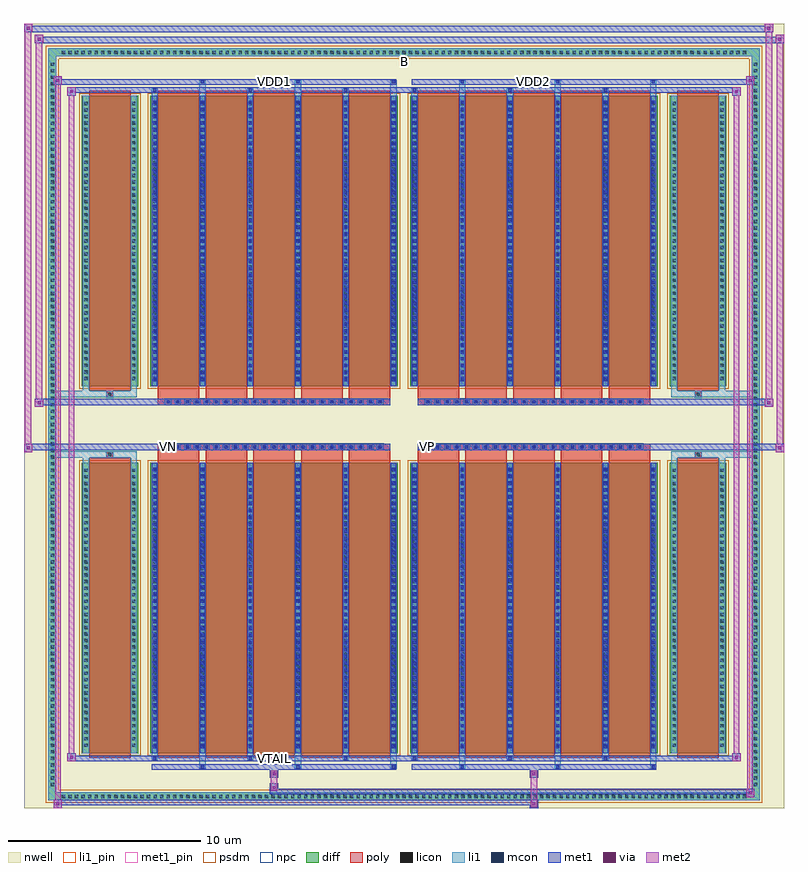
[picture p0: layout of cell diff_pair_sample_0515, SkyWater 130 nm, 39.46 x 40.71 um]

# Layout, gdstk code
import gdstk
lib = gdstk.Library(unit=1e-6, precision=5e-09)
def R(c, l, rs):  # rectangles x0, y0, x1, y1
    for r in rs: c.add(gdstk.rectangle(r[:2], r[2:], *l))
def A(c, l, x, y, w, h, nx, ny, dx, dy):  # array of equal rectangles
    R(c, l, [(x+i*dx, y+j*dy, x+i*dx+w, y+j*dy+h) for i in range(nx) for j in range(ny)])
def P(c, l, *ps):  # polygons
    for p in ps: c.add(gdstk.Polygon(p, *l))
nwell = (64, 20)
diff = (65, 20)
poly = (66, 20)
licon = (66, 44)
li1_pin = (67, 16)
li1 = (67, 20)
mcon = (67, 44)
met1_pin = (68, 16)
met1 = (68, 20)
via = (68, 44)
met2 = (69, 20)
psdm = (94, 20)
npc = (95, 20)

diff_pair_sample_0515 = lib.new_cell('diff_pair_sample_0515')
R(diff_pair_sample_0515, nwell, [(-19.73,-19.92,19.73,20.79), (-17.05,-18.11,-0.01,-0.805), (0.01,-18.11,17.05,-0.805), (-17.05,0.805,-0.01,18.11), (0.01,0.805,17.05,18.11)])
A(diff_pair_sample_0515, diff, -17.885, -19.52, 0.41, 0.41, 105, 2, 0.34, 38.63)
A(diff_pair_sample_0515, diff, -18.46, -18.905, 0.41, 0.41, 1, 111, 0, 0.34)
A(diff_pair_sample_0515, diff, 18.05, -18.905, 0.41, 0.41, 1, 111, 0, 0.34)
R(diff_pair_sample_0515, diff, [(-17.885,-19.52,17.885,-19.11), (-18.46,-18.905,-18.05,18.905), (18.05,-18.905,18.46,18.905), (-16.74,-17.065,-13.81,-1.985), (-13.17,-17.065,-0.32,-1.985), (0.32,-17.065,13.17,-1.985), (13.81,-17.065,16.74,-1.985), (-16.74,1.985,-13.81,17.065), (-13.17,1.985,-0.32,17.065), (0.32,1.985,13.17,17.065), (13.81,1.985,16.74,17.065), (-17.885,19.11,17.885,19.52)])
P(diff_pair_sample_0515, diff, [(18.46,19.52),(-18.46,19.52),(-18.46,-19.11),(-18.05,-19.11),(-18.05,19.11),(18.05,19.11),(18.05,-19.11),(-18.05,-19.11),(-18.46,-19.11),(-18.46,-19.52),(18.46,-19.52)])
A(diff_pair_sample_0515, poly, -12.78, -17.315, 2.15, 15.58, 5, 2, 2.48, 19.05)
A(diff_pair_sample_0515, poly, 0.71, -17.315, 2.15, 15.58, 5, 2, 2.48, 19.05)
A(diff_pair_sample_0515, poly, -12.78, -1.735, 2.15, 0.4, 5, 2, 2.48, 3.07)
A(diff_pair_sample_0515, poly, 0.71, -1.735, 2.15, 0.4, 5, 2, 2.48, 3.07)
A(diff_pair_sample_0515, poly, -12.41, -1.335, 0.33, 0.33, 23, 2, 0.5, 2.34)
A(diff_pair_sample_0515, poly, 1.08, -1.335, 0.33, 0.33, 23, 2, 0.5, 2.34)
R(diff_pair_sample_0515, poly, [(-16.35,-17.315,-14.2,-1.735), (14.2,-17.315,16.35,-1.735), (-15.44,-1.735,-15.11,-1.405), (-15.44,-1.735,-15.11,-1.405), (15.11,-1.735,15.44,-1.405), (15.11,-1.735,15.44,-1.405), (-12.78,-1.335,-0.71,-1.005), (0.71,-1.335,12.78,-1.005), (-12.78,1.005,-0.71,1.335), (0.71,1.005,12.78,1.335), (-15.44,1.405,-15.11,1.735), (-15.44,1.405,-15.11,1.735), (15.11,1.405,15.44,1.735), (15.11,1.405,15.44,1.735), (-16.35,1.735,-14.2,17.315), (14.2,1.735,16.35,17.315)])
A(diff_pair_sample_0515, licon, -17.765, -19.4, 0.17, 0.17, 105, 2, 0.34, 38.63)
A(diff_pair_sample_0515, licon, -18.34, -18.785, 0.17, 0.17, 1, 111, 0, 0.34)
A(diff_pair_sample_0515, licon, 18.17, -18.785, 0.17, 0.17, 1, 111, 0, 0.34)
A(diff_pair_sample_0515, licon, -16.6, -16.75, 0.17, 0.17, 1, 43, 0, 0.34)
A(diff_pair_sample_0515, licon, -14.12, -16.75, 0.17, 0.17, 1, 43, 0, 0.34)
A(diff_pair_sample_0515, licon, -13.03, -16.75, 0.17, 0.17, 6, 43, 2.48, 0.34)
A(diff_pair_sample_0515, licon, 0.46, -16.75, 0.17, 0.17, 6, 43, 2.48, 0.34)
A(diff_pair_sample_0515, licon, 13.95, -16.75, 0.17, 0.17, 1, 43, 0, 0.34)
A(diff_pair_sample_0515, licon, 16.43, -16.75, 0.17, 0.17, 1, 43, 0, 0.34)
A(diff_pair_sample_0515, licon, -12.33, -1.255, 0.17, 0.17, 23, 2, 0.5, 2.34)
A(diff_pair_sample_0515, licon, 1.16, -1.255, 0.17, 0.17, 23, 2, 0.5, 2.34)
A(diff_pair_sample_0515, licon, -16.6, 2.3, 0.17, 0.17, 1, 43, 0, 0.34)
A(diff_pair_sample_0515, licon, -14.12, 2.3, 0.17, 0.17, 1, 43, 0, 0.34)
A(diff_pair_sample_0515, licon, -13.03, 2.3, 0.17, 0.17, 6, 43, 2.48, 0.34)
A(diff_pair_sample_0515, licon, 0.46, 2.3, 0.17, 0.17, 6, 43, 2.48, 0.34)
A(diff_pair_sample_0515, licon, 13.95, 2.3, 0.17, 0.17, 1, 43, 0, 0.34)
A(diff_pair_sample_0515, licon, 16.43, 2.3, 0.17, 0.17, 1, 43, 0, 0.34)
R(diff_pair_sample_0515, licon, [(-15.36,-1.655,-15.19,-1.485), (15.19,-1.655,15.36,-1.485), (-15.36,1.485,-15.19,1.655), (15.19,1.485,15.36,1.655)])
R(diff_pair_sample_0515, li1_pin, [(-0.25,18.61,0.25,19.11)])
A(diff_pair_sample_0515, li1, -17.845, -19.48, 0.33, 0.33, 105, 2, 0.34, 38.63)
A(diff_pair_sample_0515, li1, -18.42, -18.865, 0.33, 0.33, 1, 111, 0, 0.34)
A(diff_pair_sample_0515, li1, 18.09, -18.865, 0.33, 0.33, 1, 111, 0, 0.34)
A(diff_pair_sample_0515, li1, -10.63, -17.87, 0.33, 0.805, 3, 2, 4.96, 34.935)
A(diff_pair_sample_0515, li1, -10.55, -17.87, 0.17, 0.17, 3, 2, 4.96, 35.57)
A(diff_pair_sample_0515, li1, 2.86, -17.87, 0.33, 0.805, 3, 2, 4.96, 34.935)
A(diff_pair_sample_0515, li1, 2.94, -17.87, 0.17, 0.17, 3, 2, 4.96, 35.57)
A(diff_pair_sample_0515, li1, -13.11, -17.44, 0.33, 0.375, 3, 2, 4.96, 34.505)
A(diff_pair_sample_0515, li1, -13.03, -17.44, 0.17, 0.17, 3, 2, 4.96, 34.71)
A(diff_pair_sample_0515, li1, 0.38, -17.44, 0.33, 0.375, 3, 2, 4.96, 34.505)
A(diff_pair_sample_0515, li1, 0.46, -17.44, 0.17, 0.17, 3, 2, 4.96, 34.71)
A(diff_pair_sample_0515, li1, -13.11, -17.065, 0.33, 15.08, 6, 2, 2.48, 19.05)
A(diff_pair_sample_0515, li1, 0.38, -17.065, 0.33, 15.08, 6, 2, 2.48, 19.05)
A(diff_pair_sample_0515, li1, -16.68, -16.83, 0.33, 0.33, 1, 43, 0, 0.34)
A(diff_pair_sample_0515, li1, -14.2, -16.83, 0.33, 0.33, 1, 43, 0, 0.34)
A(diff_pair_sample_0515, li1, -13.11, -16.83, 0.33, 0.33, 6, 43, 2.48, 0.34)
A(diff_pair_sample_0515, li1, 0.38, -16.83, 0.33, 0.33, 6, 43, 2.48, 0.34)
A(diff_pair_sample_0515, li1, 13.87, -16.83, 0.33, 0.33, 1, 43, 0, 0.34)
A(diff_pair_sample_0515, li1, 16.35, -16.83, 0.33, 0.33, 1, 43, 0, 0.34)
A(diff_pair_sample_0515, li1, -13.03, -16.81, 0.17, 0.17, 6, 41, 2.48, 0.36)
A(diff_pair_sample_0515, li1, -13.03, -16.81, 0.17, 14.57, 6, 2, 2.48, 19.05)
A(diff_pair_sample_0515, li1, 0.46, -16.81, 0.17, 0.17, 6, 41, 2.48, 0.36)
A(diff_pair_sample_0515, li1, 0.46, -16.81, 0.17, 14.57, 6, 2, 2.48, 19.05)
A(diff_pair_sample_0515, li1, -12.41, -1.335, 0.33, 0.33, 23, 2, 0.5, 2.34)
A(diff_pair_sample_0515, li1, 1.08, -1.335, 0.33, 0.33, 23, 2, 0.5, 2.34)
A(diff_pair_sample_0515, li1, -16.68, 2.22, 0.33, 0.33, 1, 43, 0, 0.34)
A(diff_pair_sample_0515, li1, -14.2, 2.22, 0.33, 0.33, 1, 43, 0, 0.34)
A(diff_pair_sample_0515, li1, -13.11, 2.22, 0.33, 0.33, 6, 43, 2.48, 0.34)
A(diff_pair_sample_0515, li1, 0.38, 2.22, 0.33, 0.33, 6, 43, 2.48, 0.34)
A(diff_pair_sample_0515, li1, 13.87, 2.22, 0.33, 0.33, 1, 43, 0, 0.34)
A(diff_pair_sample_0515, li1, 16.35, 2.22, 0.33, 0.33, 1, 43, 0, 0.34)
A(diff_pair_sample_0515, li1, -13.03, 2.24, 0.17, 0.17, 6, 41, 2.48, 0.36)
A(diff_pair_sample_0515, li1, 0.46, 2.24, 0.17, 0.17, 6, 41, 2.48, 0.36)
R(diff_pair_sample_0515, li1, [(-18.46,-19.52,-18.05,-19.11), (-18.46,-19.52,-18.05,-19.11), (-18.05,-19.52,18.05,-19.11), (18.05,-19.52,18.46,-19.11), (18.05,-19.52,18.46,-19.11), (-18.46,-19.11,-18.05,19.11), (18.05,-19.11,18.46,19.11), (-16.68,-17.065,-16.35,-1.985), (-14.2,-17.065,-13.87,-1.985), (13.87,-17.065,14.2,-1.985), (16.35,-17.065,16.68,-1.985), (-16.68,-1.985,-16.35,-1.405), (-14.2,-1.985,-13.87,-1.405), (13.87,-1.985,14.2,-1.405), (16.35,-1.985,16.68,-1.405), (-18.46,-1.735,-15.44,-1.405), (-16.68,-1.735,-15.44,-1.405), (-15.44,-1.735,-15.11,-1.405), (-15.11,-1.735,-13.87,-1.405), (13.87,-1.735,15.11,-1.405), (15.11,-1.735,15.44,-1.405), (15.11,-1.735,18.46,-1.405), (15.44,-1.735,16.68,-1.405), (-18.46,1.405,-15.44,1.735), (-16.68,1.405,-15.44,1.735), (-16.68,1.405,-16.35,1.985), (-15.44,1.405,-15.11,1.735), (-15.11,1.405,-13.87,1.735), (-14.2,1.405,-13.87,1.985), (13.87,1.405,15.11,1.735), (13.87,1.405,14.2,1.985), (15.11,1.405,15.44,1.735), (15.11,1.405,18.46,1.735), (15.44,1.405,16.68,1.735), (16.35,1.405,16.68,1.985), (-16.68,1.985,-16.35,17.065), (-14.2,1.985,-13.87,17.065), (13.87,1.985,14.2,17.065), (16.35,1.985,16.68,17.065), (-18.46,19.11,-18.05,19.52), (-18.46,19.11,-18.05,19.52), (-18.05,19.11,18.05,19.52), (18.05,19.11,18.46,19.52), (18.05,19.11,18.46,19.52)])
A(diff_pair_sample_0515, mcon, -10.55, -17.87, 0.17, 0.17, 3, 2, 4.96, 35.57)
A(diff_pair_sample_0515, mcon, 2.94, -17.87, 0.17, 0.17, 3, 2, 4.96, 35.57)
A(diff_pair_sample_0515, mcon, -13.03, -17.44, 0.17, 0.17, 3, 2, 4.96, 34.71)
A(diff_pair_sample_0515, mcon, 0.46, -17.44, 0.17, 0.17, 3, 2, 4.96, 34.71)
A(diff_pair_sample_0515, mcon, -13.03, -16.81, 0.17, 0.17, 6, 41, 2.48, 0.36)
A(diff_pair_sample_0515, mcon, 0.46, -16.81, 0.17, 0.17, 6, 41, 2.48, 0.36)
A(diff_pair_sample_0515, mcon, -12.33, -1.255, 0.17, 0.17, 23, 2, 0.5, 2.34)
A(diff_pair_sample_0515, mcon, 1.16, -1.255, 0.17, 0.17, 23, 2, 0.5, 2.34)
A(diff_pair_sample_0515, mcon, -13.03, 2.24, 0.17, 0.17, 6, 41, 2.48, 0.36)
A(diff_pair_sample_0515, mcon, 0.46, 2.24, 0.17, 0.17, 6, 41, 2.48, 0.36)
R(diff_pair_sample_0515, met1_pin, [(-6.88,-17.48,-6.61,-17.21), (-12.38,-1.295,-12.11,-1.025), (1.11,-1.295,1.38,-1.025), (-6.88,17.66,-6.61,17.93), (6.61,17.66,6.88,17.93)])
A(diff_pair_sample_0515, met1, -10.61, -17.93, 0.29, 0.29, 3, 2, 4.96, 35.57)
A(diff_pair_sample_0515, met1, 2.88, -17.93, 0.29, 0.29, 3, 2, 4.96, 35.57)
A(diff_pair_sample_0515, met1, -13.09, -17.5, 0.29, 0.29, 3, 2, 4.96, 34.71)
A(diff_pair_sample_0515, met1, 0.4, -17.5, 0.29, 0.29, 3, 2, 4.96, 34.71)
A(diff_pair_sample_0515, met1, -13.09, -17.065, 0.29, 15.08, 6, 2, 2.48, 19.05)
A(diff_pair_sample_0515, met1, 0.4, -17.065, 0.29, 15.08, 6, 2, 2.48, 19.05)
A(diff_pair_sample_0515, met1, -13.09, -16.87, 0.29, 0.29, 6, 41, 2.48, 0.36)
A(diff_pair_sample_0515, met1, 0.4, -16.87, 0.29, 0.29, 6, 41, 2.48, 0.36)
A(diff_pair_sample_0515, met1, -12.39, -1.315, 0.29, 0.29, 23, 2, 0.5, 2.34)
A(diff_pair_sample_0515, met1, 1.1, -1.315, 0.29, 0.29, 23, 2, 0.5, 2.34)
A(diff_pair_sample_0515, met1, -13.09, 2.18, 0.29, 0.29, 6, 41, 2.48, 0.36)
A(diff_pair_sample_0515, met1, 0.4, 2.18, 0.29, 0.29, 6, 41, 2.48, 0.36)
R(diff_pair_sample_0515, met1, [(-18.19,-19.92,-17.76,-19.49), (6.53,-19.92,6.96,-19.49), (-18.19,-19.78,6.96,-19.49), (17.76,-19.35,18.19,-18.92), (-6.96,-19.21,18.19,-18.92), (-6.96,-19.07,-6.53,-18.64), (-6.96,-18.36,-6.53,-17.93), (6.53,-18.36,6.96,-17.93), (-13.09,-17.93,-0.4,-17.64), (0.4,-17.93,13.09,-17.64), (-17.48,-17.5,-17.05,-17.07), (-17.48,-17.5,-13.09,-17.21), (-13.09,-17.5,-0.4,-17.21), (-0.4,-17.5,0.4,-17.21), (0.4,-17.5,13.09,-17.21), (13.09,-17.5,17.48,-17.21), (17.05,-17.5,17.48,-17.07), (-19.73,-1.435,-19.3,-1.005), (19.3,-1.435,19.73,-1.005), (-19.73,-1.335,-0.71,-1.005), (-12.78,-1.335,-0.71,-1.005), (0.71,-1.335,12.78,-1.005), (0.71,-1.335,19.73,-1.005), (-19.16,0.905,-18.73,1.335), (18.73,0.905,19.16,1.335), (-19.16,1.005,-12.78,1.335), (-12.78,1.005,-0.71,1.335), (0.71,1.005,12.78,1.335), (12.78,1.005,19.16,1.335), (-17.48,17.07,-17.05,17.5), (17.05,17.07,17.48,17.5), (-17.48,17.21,-13.09,17.5), (-13.09,17.21,-0.4,17.5), (-0.4,17.21,0.4,17.5), (0.4,17.21,13.09,17.5), (13.09,17.21,17.48,17.5), (-18.19,17.64,-17.76,18.07), (-18.19,17.64,-13.09,17.93), (-13.09,17.64,-0.4,17.93), (0.4,17.64,13.09,17.93), (13.09,17.64,18.19,17.93), (17.76,17.64,18.19,18.07), (-19.16,19.79,-18.73,20.22), (-19.16,19.79,-17.05,20.12), (-17.05,19.79,17.05,20.12), (17.05,19.79,19.73,20.12), (19.3,19.79,19.73,20.22), (-19.73,20.36,-19.3,20.79), (-19.73,20.36,-17.05,20.69), (-17.05,20.36,17.05,20.69), (17.05,20.36,19.16,20.69), (18.73,20.36,19.16,20.79)])
R(diff_pair_sample_0515, via, [(-18.05,-19.78,-17.9,-19.63), (6.67,-19.78,6.82,-19.63), (17.9,-19.21,18.05,-19.06), (-6.82,-18.93,-6.67,-18.78), (-6.82,-18.22,-6.67,-18.07), (6.67,-18.22,6.82,-18.07), (-17.34,-17.36,-17.19,-17.21), (17.19,-17.36,17.34,-17.21), (-19.59,-1.295,-19.44,-1.145), (19.44,-1.295,19.59,-1.145), (-19.02,1.045,-18.87,1.195), (18.87,1.045,19.02,1.195), (-17.34,17.21,-17.19,17.36), (17.19,17.21,17.34,17.36), (-18.05,17.78,-17.9,17.93), (17.9,17.78,18.05,17.93), (-19.02,19.93,-18.87,20.08), (19.44,19.93,19.59,20.08), (-19.59,20.5,-19.44,20.65), (18.87,20.5,19.02,20.65)])
R(diff_pair_sample_0515, met2, [(-18.19,-19.92,-17.76,-19.49), (-18.12,-19.92,-17.83,18.07), (-17.83,-19.92,-17.76,-19.49), (-18.14,-19.87,-17.81,-19.54), (6.58,-19.87,6.91,-19.54), (6.58,-19.54,6.91,-18.31), (17.76,-19.35,18.19,-18.92), (17.83,-19.35,18.12,18.07), (18.12,-19.35,18.19,-18.92), (17.81,-19.3,18.14,-18.97), (-6.91,-19.02,-6.58,-18.69), (-6.91,-18.69,-6.58,-18.31), (-6.91,-18.31,-6.58,-17.98), (6.58,-18.31,6.91,-17.98), (-17.48,-17.5,-17.05,-17.07), (-17.41,-17.5,-17.12,17.5), (-17.12,-17.5,-17.05,-17.07), (17.05,-17.5,17.48,-17.07), (17.12,-17.5,17.41,17.5), (17.41,-17.5,17.48,-17.07), (-17.43,-17.45,-17.1,-17.12), (17.1,-17.45,17.43,-17.12), (-19.73,-1.435,-19.3,-1.005), (-19.68,-1.435,-19.35,20.79), (-19.35,-1.435,-19.3,-1.005), (19.3,-1.435,19.73,-1.005), (19.35,-1.435,19.68,20.22), (19.68,-1.435,19.73,-1.005), (-19.68,-1.385,-19.35,-1.055), (19.35,-1.385,19.68,-1.055), (-19.16,0.905,-18.73,1.335), (-19.11,0.905,-18.78,20.22), (-18.78,0.905,-18.73,1.335), (18.73,0.905,19.16,1.335), (18.78,0.905,19.11,20.79), (19.11,0.905,19.16,1.335), (-19.11,0.955,-18.78,1.285), (18.78,0.955,19.11,1.285), (-17.48,17.07,-17.05,17.5), (-17.12,17.07,-17.05,17.5), (17.05,17.07,17.48,17.5), (17.41,17.07,17.48,17.5), (-17.43,17.12,-17.1,17.45), (17.1,17.12,17.43,17.45), (-18.19,17.64,-17.76,18.07), (-17.83,17.64,-17.76,18.07), (17.76,17.64,18.19,18.07), (18.12,17.64,18.19,18.07), (-18.14,17.69,-17.81,18.02), (17.81,17.69,18.14,18.02), (-19.16,19.79,-18.73,20.22), (-18.78,19.79,-18.73,20.22), (19.3,19.79,19.73,20.22), (19.68,19.79,19.73,20.22), (-19.11,19.84,-18.78,20.17), (19.35,19.84,19.68,20.17), (-19.73,20.36,-19.3,20.79), (-19.35,20.36,-19.3,20.79), (18.73,20.36,19.16,20.79), (19.11,20.36,19.16,20.79), (-19.68,20.41,-19.35,20.74), (18.78,20.41,19.11,20.74)])
R(diff_pair_sample_0515, psdm, [(-16.87,-17.195,-13.68,-1.855), (-13.3,-17.195,-0.19,-1.855), (0.19,-17.195,13.3,-1.855), (13.68,-17.195,16.87,-1.855), (-16.87,1.855,-13.68,17.195), (-13.3,1.855,-0.19,17.195), (0.19,1.855,13.3,17.195), (13.68,1.855,16.87,17.195)])
P(diff_pair_sample_0515, psdm, [(18.59,19.65),(-18.59,19.65),(-18.59,-18.98),(-17.92,-18.98),(-17.92,18.98),(17.92,18.98),(17.92,-18.98),(-17.92,-18.98),(-18.59,-18.98),(-18.59,-19.65),(18.59,-19.65)])
A(diff_pair_sample_0515, npc, -12.43, -1.355, 0.37, 0.37, 23, 2, 0.5, 2.34)
A(diff_pair_sample_0515, npc, 1.06, -1.355, 0.37, 0.37, 23, 2, 0.5, 2.34)
R(diff_pair_sample_0515, npc, [(-15.46,-1.755,-15.09,-1.385), (15.09,-1.755,15.46,-1.385), (-12.43,-1.355,-11.56,-0.985), (-12.43,-1.355,-11.56,-0.985), (-11.93,-1.355,-11.06,-0.985), (-11.93,-1.355,-11.06,-0.985), (-11.43,-1.355,-10.56,-0.985), (-11.43,-1.355,-10.56,-0.985), (-10.93,-1.355,-10.06,-0.985), (-10.93,-1.355,-10.06,-0.985), (-10.43,-1.355,-9.56,-0.985), (-10.43,-1.355,-9.56,-0.985), (-9.93,-1.355,-9.06,-0.985), (-9.93,-1.355,-9.06,-0.985), (-9.43,-1.355,-8.56,-0.985), (-9.43,-1.355,-8.56,-0.985), (-8.93,-1.355,-8.06,-0.985), (-8.93,-1.355,-8.06,-0.985), (-8.43,-1.355,-7.56,-0.985), (-8.43,-1.355,-7.56,-0.985), (-7.93,-1.355,-7.06,-0.985), (-7.93,-1.355,-7.06,-0.985), (-7.43,-1.355,-6.56,-0.985), (-7.43,-1.355,-6.56,-0.985), (-6.93,-1.355,-6.06,-0.985), (-6.93,-1.355,-6.06,-0.985), (-6.43,-1.355,-5.56,-0.985), (-6.43,-1.355,-5.56,-0.985), (-5.93,-1.355,-5.06,-0.985), (-5.93,-1.355,-5.06,-0.985), (-5.43,-1.355,-4.56,-0.985), (-5.43,-1.355,-4.56,-0.985), (-4.93,-1.355,-4.06,-0.985), (-4.93,-1.355,-4.06,-0.985), (-4.43,-1.355,-3.56,-0.985), (-4.43,-1.355,-3.56,-0.985), (-3.93,-1.355,-3.06,-0.985), (-3.93,-1.355,-3.06,-0.985), (-3.43,-1.355,-2.56,-0.985), (-3.43,-1.355,-2.56,-0.985), (-2.93,-1.355,-2.06,-0.985), (-2.93,-1.355,-2.06,-0.985), (-2.43,-1.355,-1.56,-0.985), (-2.43,-1.355,-1.56,-0.985), (-1.93,-1.355,-1.06,-0.985), (-1.93,-1.355,-1.06,-0.985), (1.06,-1.355,1.93,-0.985), (1.06,-1.355,1.93,-0.985), (1.56,-1.355,2.43,-0.985), (1.56,-1.355,2.43,-0.985), (2.06,-1.355,2.93,-0.985), (2.06,-1.355,2.93,-0.985), (2.56,-1.355,3.43,-0.985), (2.56,-1.355,3.43,-0.985), (3.06,-1.355,3.93,-0.985), (3.06,-1.355,3.93,-0.985), (3.56,-1.355,4.43,-0.985), (3.56,-1.355,4.43,-0.985), (4.06,-1.355,4.93,-0.985), (4.06,-1.355,4.93,-0.985), (4.56,-1.355,5.43,-0.985), (4.56,-1.355,5.43,-0.985), (5.06,-1.355,5.93,-0.985), (5.06,-1.355,5.93,-0.985), (5.56,-1.355,6.43,-0.985), (5.56,-1.355,6.43,-0.985), (6.06,-1.355,6.93,-0.985), (6.06,-1.355,6.93,-0.985), (6.56,-1.355,7.43,-0.985), (6.56,-1.355,7.43,-0.985), (7.06,-1.355,7.93,-0.985), (7.06,-1.355,7.93,-0.985), (7.56,-1.355,8.43,-0.985), (7.56,-1.355,8.43,-0.985), (8.06,-1.355,8.93,-0.985), (8.06,-1.355,8.93,-0.985), (8.56,-1.355,9.43,-0.985), (8.56,-1.355,9.43,-0.985), (9.06,-1.355,9.93,-0.985), (9.06,-1.355,9.93,-0.985), (9.56,-1.355,10.43,-0.985), (9.56,-1.355,10.43,-0.985), (10.06,-1.355,10.93,-0.985), (10.06,-1.355,10.93,-0.985), (10.56,-1.355,11.43,-0.985), (10.56,-1.355,11.43,-0.985), (11.06,-1.355,11.93,-0.985), (11.06,-1.355,11.93,-0.985), (11.56,-1.355,12.43,-0.985), (11.56,-1.355,12.43,-0.985), (-12.43,0.985,-11.56,1.355), (-12.43,0.985,-11.56,1.355), (-11.93,0.985,-11.06,1.355), (-11.93,0.985,-11.06,1.355), (-11.43,0.985,-10.56,1.355), (-11.43,0.985,-10.56,1.355), (-10.93,0.985,-10.06,1.355), (-10.93,0.985,-10.06,1.355), (-10.43,0.985,-9.56,1.355), (-10.43,0.985,-9.56,1.355), (-9.93,0.985,-9.06,1.355), (-9.93,0.985,-9.06,1.355), (-9.43,0.985,-8.56,1.355), (-9.43,0.985,-8.56,1.355), (-8.93,0.985,-8.06,1.355), (-8.93,0.985,-8.06,1.355), (-8.43,0.985,-7.56,1.355), (-8.43,0.985,-7.56,1.355), (-7.93,0.985,-7.06,1.355), (-7.93,0.985,-7.06,1.355), (-7.43,0.985,-6.56,1.355), (-7.43,0.985,-6.56,1.355), (-6.93,0.985,-6.06,1.355), (-6.93,0.985,-6.06,1.355), (-6.43,0.985,-5.56,1.355), (-6.43,0.985,-5.56,1.355), (-5.93,0.985,-5.06,1.355), (-5.93,0.985,-5.06,1.355), (-5.43,0.985,-4.56,1.355), (-5.43,0.985,-4.56,1.355), (-4.93,0.985,-4.06,1.355), (-4.93,0.985,-4.06,1.355), (-4.43,0.985,-3.56,1.355), (-4.43,0.985,-3.56,1.355), (-3.93,0.985,-3.06,1.355), (-3.93,0.985,-3.06,1.355), (-3.43,0.985,-2.56,1.355), (-3.43,0.985,-2.56,1.355), (-2.93,0.985,-2.06,1.355), (-2.93,0.985,-2.06,1.355), (-2.43,0.985,-1.56,1.355), (-2.43,0.985,-1.56,1.355), (-1.93,0.985,-1.06,1.355), (-1.93,0.985,-1.06,1.355), (1.06,0.985,1.93,1.355), (1.06,0.985,1.93,1.355), (1.56,0.985,2.43,1.355), (1.56,0.985,2.43,1.355), (2.06,0.985,2.93,1.355), (2.06,0.985,2.93,1.355), (2.56,0.985,3.43,1.355), (2.56,0.985,3.43,1.355), (3.06,0.985,3.93,1.355), (3.06,0.985,3.93,1.355), (3.56,0.985,4.43,1.355), (3.56,0.985,4.43,1.355), (4.06,0.985,4.93,1.355), (4.06,0.985,4.93,1.355), (4.56,0.985,5.43,1.355), (4.56,0.985,5.43,1.355), (5.06,0.985,5.93,1.355), (5.06,0.985,5.93,1.355), (5.56,0.985,6.43,1.355), (5.56,0.985,6.43,1.355), (6.06,0.985,6.93,1.355), (6.06,0.985,6.93,1.355), (6.56,0.985,7.43,1.355), (6.56,0.985,7.43,1.355), (7.06,0.985,7.93,1.355), (7.06,0.985,7.93,1.355), (7.56,0.985,8.43,1.355), (7.56,0.985,8.43,1.355), (8.06,0.985,8.93,1.355), (8.06,0.985,8.93,1.355), (8.56,0.985,9.43,1.355), (8.56,0.985,9.43,1.355), (9.06,0.985,9.93,1.355), (9.06,0.985,9.93,1.355), (9.56,0.985,10.43,1.355), (9.56,0.985,10.43,1.355), (10.06,0.985,10.93,1.355), (10.06,0.985,10.93,1.355), (10.56,0.985,11.43,1.355), (10.56,0.985,11.43,1.355), (11.06,0.985,11.93,1.355), (11.06,0.985,11.93,1.355), (11.56,0.985,12.43,1.355), (11.56,0.985,12.43,1.355), (-15.46,1.385,-15.09,1.755), (15.09,1.385,15.46,1.755)])
diff_pair_sample_0515.add(gdstk.Label('VTAIL', (-6.745,-17.345), layer=68, texttype=5))
diff_pair_sample_0515.add(gdstk.Label('VN', (-12.245,-1.16), layer=68, texttype=5))
diff_pair_sample_0515.add(gdstk.Label('VP', (1.245,-1.16), layer=68, texttype=5))
diff_pair_sample_0515.add(gdstk.Label('B', (0,18.86), layer=67, texttype=5))
diff_pair_sample_0515.add(gdstk.Label('VDD2', (6.745,17.795), layer=68, texttype=5))
diff_pair_sample_0515.add(gdstk.Label('VDD1', (-6.745,17.795), layer=68, texttype=5))

lib.write_gds('diff_pair_sample_0515.gds')
